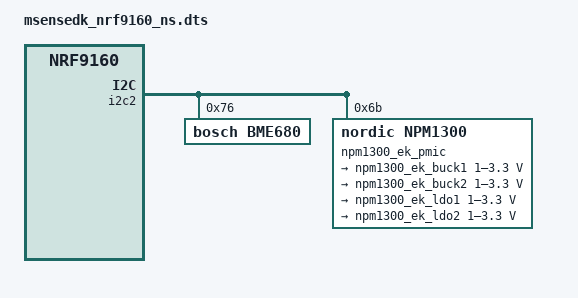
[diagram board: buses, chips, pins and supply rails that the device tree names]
/*
 * Copyright (c) 2018-2020 Nordic Semiconductor ASA
 *
 * SPDX-License-Identifier: Apache-2.0
 */

/dts-v1/;
#include <nordic/nrf9160ns_sica.dtsi>
#include "msensedk_nrf9160_common.dtsi"
#include <zephyr/dt-bindings/input/input-event-codes.h>
#include <dt-bindings/regulator/npm1300.h>

/ {
	chosen {
		zephyr,flash = &flash0;
		zephyr,sram = &sram0_ns;
		zephyr,code-partition = &slot0_ns_partition;
	};
};

/* Disable UART1, because it is used by default in TF-M */
&uart1 {
	status = "disabled";
};

&i2c2 {
	compatible = "nordic,nrf-twim";
	status = "okay";
	pinctrl-0 = <&i2c2_default>;
	pinctrl-1 = <&i2c2_sleep>;
	pinctrl-names = "default", "sleep";

	bme680: bme680@76 {
		compatible = "bosch,bme680";
		reg = <0x76>;
	};

	npm1300_ek_pmic: pmic@6b {
		compatible = "nordic,npm1300";
		reg = <0x6b>;
		//long-press-reset = "one_button";
		//ship-to-active-time = <1008>;

		npm1300_ek_gpio: gpio-controller {
			compatible = "nordic,npm1300-gpio";
			gpio-controller;
			#gpio-cells = <2>;
			ngpios = <5>;
			};
	 
		npm1300_ek_regulators: regulators {
			compatible = "nordic,npm1300-regulator";
			npm1300_ek_buck1: BUCK1 {
				regulator-min-microvolt = <1000000>;
				regulator-max-microvolt = <3300000>;
				regulator-init-microvolt =  <2000000>;
				retention-microvolt = <2000000>;
			};
			
			npm1300_ek_buck2: BUCK2 {
				regulator-min-microvolt = <1000000>;
				regulator-max-microvolt = <3300000>;
				retention-microvolt = <1000000>;
			};

			npm1300_ek_ldo1: LDO1 {
				regulator-min-microvolt = <1000000>;
				regulator-max-microvolt = <3300000>;
				regulator-initial-mode = <NPM1300_LDSW_MODE_LDSW>;
				// soft-start-microamp = <20000>;
				
			};

			npm1300_ek_ldo2: LDO2 {
				regulator-min-microvolt = <1000000>;
				regulator-max-microvolt = <3300000>;
				regulator-initial-mode = <NPM1300_LDSW_MODE_LDSW>;
				// soft-start-microamp = <20000>;
				//regulator-boot-on;	
			};
		};
	
		npm1300_ek_charger: charger {
			compatible = "nordic,npm1300-charger";
			term-microvolt = <41500000>;
			term-warm-microvolt = <4000000>;
			//term-current-percent = <10>;
			current-microamp = <500000>;
			// trickle-microvolt = <2500000>;
			dischg-limit-microamp = <1340000>;
			vbus-limit-microamp = <500000>;
			thermistor-ohms = <10000>;
			thermistor-beta = <3380>;
			charging-enable;
			vbatlow-charge-enable;
		};
	
		npm1300_ek_leds: leds {
			compatible = "nordic,npm1300-led";
			nordic,led0-mode = "error";    
			nordic,led1-mode = "charging";    
			nordic,led2-mode = "host";
		};
	 
	};
};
